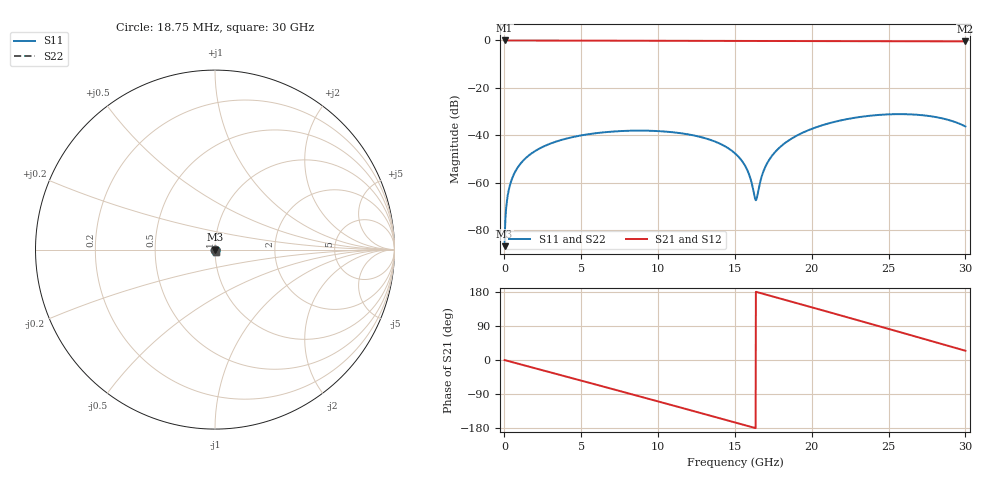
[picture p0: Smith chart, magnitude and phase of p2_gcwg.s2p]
# HZ S RI R 50
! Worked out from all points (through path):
!   1600 points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, 18.75 MHz to 30 GHz, reference 50 ohm
!   highest |S21| = 0.00 dB at 18.75 MHz (marker M1); lowest = -0.4 dB at 30 GHz (marker M2)
!   group delay of S21, straight-line fit = 31.1 ps
!   lowest |S11| = -86.9 dB at 18.75 MHz (marker M3), VSWR 1.00, Z = 50 + j0.00452 ohm
!   |S11| at or under -10 dB: start of sweep to end of sweep
!   |S22| runs from -86.9 to -31.1 dB; largest |S21 - S12| = 1e-12
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1.875e7  2.09e-06 4.52e-05  0.9998 -0.00354  0.9998 -0.00354  2.09e-06 4.52e-05
2.4375e8  3.68e-05 0.000585  0.9982 -0.046  0.9982 -0.046  3.68e-05 0.000585
4.125e8  9.13e-05 0.000986  0.9958 -0.0778  0.9958 -0.0778  9.13e-05 0.000986
7.125e8  0.00025 0.00168  0.9893 -0.1341  0.9893 -0.1341  0.00025 0.00168
1.1625e9  0.000629 0.00268  0.9735 -0.2175  0.9735 -0.2175  0.000629 0.00268
2.6625e9  0.00293 0.00521  0.8714 -0.4805  0.8714 -0.4805  0.00293 0.00521
5.025e9  0.00811 0.00569  0.5744 -0.8082  0.5744 -0.8082  0.00811 0.00569
7.55625e9  0.0121 0.00161  0.1324 -0.9789  0.1324 -0.9789  0.0121 0.00161
1.00125e10  0.0115 -0.00396  -0.3256 -0.9288  -0.3256 -0.9288  0.0115 -0.00396
1.306875e10  0.00535 -0.00675  -0.7843 -0.5874  -0.7843 -0.5874  0.00535 -0.00675
1.501875e10  0.0014 -0.00386  -0.9434 -0.2546  -0.9434 -0.2546  0.0014 -0.00386
1.576875e10  0.000613 -0.00185  -0.9694 -0.1141  -0.9694 -0.1141  0.000613 -0.00185
1.625625e10  0.000425 -0.000357  -0.9752 -0.0213  -0.9752 -0.0213  0.000425 -0.000357
1.636875e10  0.000422 2.45e-06  -0.9752 0.000145  -0.9752 0.000145  0.000422 2.45e-06
1.69125e10  0.00064 0.00179  -0.9689 0.1037  -0.9689 0.1037  0.00064 0.00179
1.75125e10  0.00134 0.00378  -0.9492 0.2166  -0.9492 0.2166  0.00134 0.00378
1.854375e10  0.0037 0.00696  -0.8848 0.4026  -0.8848 0.4026  0.0037 0.00696
2.000625e10  0.00926 0.00993  -0.7322 0.6362  -0.7322 0.6362  0.00926 0.00993
2.259375e10  0.0215 0.00736  -0.3245 0.91  -0.3245 0.91  0.0215 0.00736
2.50125e10  0.0273 -0.00369  0.1342 0.9531  0.1342 0.9531  0.0273 -0.00369
2.7825e10  0.0195 -0.0154  0.621 0.7302  0.621 0.7302  0.0195 -0.0154
3e10  0.00766 -0.0132  0.8701 0.3951  0.8701 0.3951  0.00766 -0.0132
